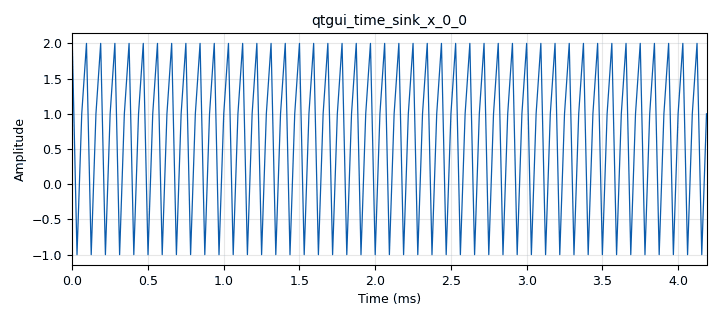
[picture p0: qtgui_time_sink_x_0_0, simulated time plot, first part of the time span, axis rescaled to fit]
options:
  parameters:
    category: comdiguis
    generate_options: qt_gui
    id: Practice_2
    output_language: python
    title: Practice_2
  states: {}

blocks:
- name: samp_rate
  id: variable
  parameters:
    value: '32000'
  states: {}
- name: blocks_vector_source_x_0
  id: blocks_vector_source_x
  parameters:
    repeat: 'True'
    type: float
    vector: (1, 2, -1)
  states: {}
- name: epy_block_0
  id: epy_block
  parameters:
    _source_code: "import numpy as np\nfrom gnuradio import gr\n\nclass blk(gr.sync_block):\n    def __init__(self):  # only default arguments here\n        gr.sync_block.__init__(\n            self,\n            name='Promedios_de_tiempos',  # will show up in GRC\n            in_sig=[np.float32],\n            out_sig=[np.float32, np.float32, np.float32, np.float32, np.float32]\n        )\n        self.acum_anterior = 0\n        self.Ntotales = 0\n        self.acum_anterior1 = 0\n        self.acum_anterior2 = 0\n\n    def work(self, input_items, output_items):\n        x = input_items[0]   # Señal de entrada.\n        y0 = output_items[0] # Promedio de la señal\n        y1 = output_items[1] # Media cuadrática de la señal\n        y2 = output_items[2] # RMS de la señal\n        y3 = output_items[3] # Potencia promedio de la señal\n        y4 = output_items[4] # Desviación estándar de la señal\n\n        # Calculo del promedio\n        N = len(x)\n        self.Ntotales = self.Ntotales + N\n        acumulado = self.acum_anterior + np.cumsum(x)\n        self.acum_anterior = acumulado[N - 1]\n        y0[:] = acumulado / self.Ntotales\n\n        # Calculo de la media cuadrática\n        x2 = np.multiply(x, x)\n        acumulado1 = self.acum_anterior1 + np.cumsum(x2)\n        self.acum_anterior1 = acumulado1[N - 1]\n        y1[:] = acumulado1 / self.Ntotales\n\n        # Calculo de la RMS\n        y2[:] = np.sqrt(y1)\n\n        # Calculo de la potencia promedio\n        y3[:] = np.multiply(y2, y2)\n\n        # Calculo de la desviacion estandar\n        x3 = np.multiply(x - y0, x - y0)\n        acumulado2 = self.acum_anterior2 + np.cumsum(x3)\n        self.acum_anterior2 = acumulado2[N - 1]\n        y4[:] = np.sqrt(acumulado2 / self.Ntotales)\n\n        return len(x)\n\n"
  states: {}
- name: qtgui_number_sink_0
  id: qtgui_number_sink
  parameters:
    graph_type: qtgui.NUM_GRAPH_HORIZ
    name: Media Cuadratica
    type: float
  states: {}
- name: qtgui_number_sink_0_0
  id: qtgui_number_sink
  parameters:
    graph_type: qtgui.NUM_GRAPH_HORIZ
    name: Media
    type: float
  states: {}
- name: qtgui_number_sink_0_1
  id: qtgui_number_sink
  parameters:
    graph_type: qtgui.NUM_GRAPH_HORIZ
    name: RMS
    type: float
  states: {}
- name: qtgui_number_sink_0_2
  id: qtgui_number_sink
  parameters:
    graph_type: qtgui.NUM_GRAPH_HORIZ
    name: Potencia Promedio
    type: float
  states: {}
- name: qtgui_number_sink_0_3
  id: qtgui_number_sink
  parameters:
    graph_type: qtgui.NUM_GRAPH_HORIZ
    name: Desviacion Estandar
    type: float
  states: {}
- name: qtgui_time_sink_x_0_0
  id: qtgui_time_sink_x
  parameters:
    size: '1024'
    srate: samp_rate
    type: float
  states: {}

connections:
- [blocks_vector_source_x_0, '0', epy_block_0, '0']
- [blocks_vector_source_x_0, '0', qtgui_time_sink_x_0_0, '0']
- [epy_block_0, '0', qtgui_number_sink_0_0, '0']
- [epy_block_0, '1', qtgui_number_sink_0, '0']
- [epy_block_0, '2', qtgui_number_sink_0_1, '0']
- [epy_block_0, '3', qtgui_number_sink_0_2, '0']
- [epy_block_0, '4', qtgui_number_sink_0_3, '0']

metadata:
  file_format: 1
  grc_version: 3.10.12.0
